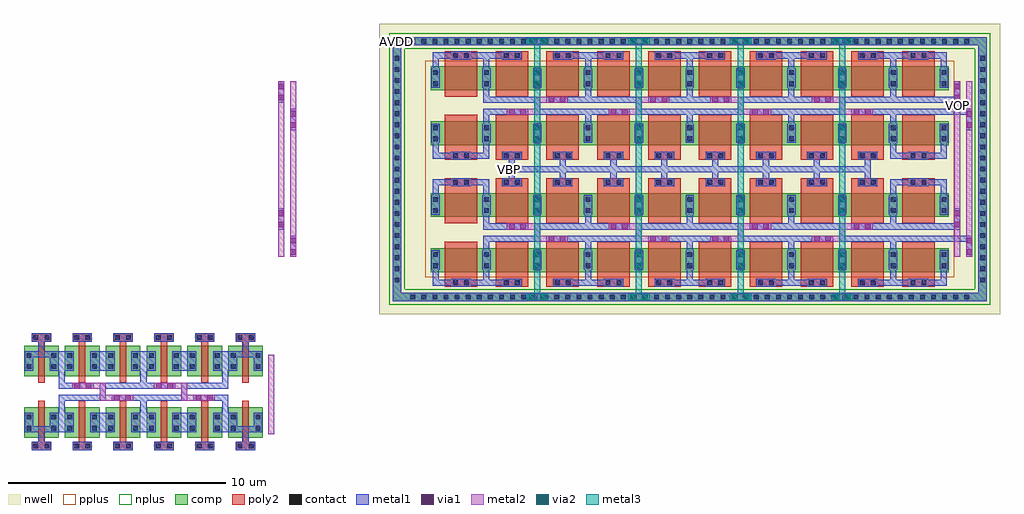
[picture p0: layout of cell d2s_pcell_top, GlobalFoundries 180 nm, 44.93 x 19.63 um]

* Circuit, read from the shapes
.subckt d2s_pcell_top AVDD VBP VON VOP
XM1 VON VON VON AVDD pfet_03v3 w=1.1u l=1.5u m=4
XM2 VOP VOP VOP AVDD pfet_03v3 w=1.1u l=1.5u m=4
XM3 AVDD VON VON AVDD pfet_03v3 w=1.1u l=1.5u m=8
XM4 AVDD VBP VOP AVDD pfet_03v3 w=1.1u l=1.5u m=8
XM5 AVDD VBP VON AVDD pfet_03v3 w=1.1u l=1.5u m=8
XM6 AVDD VOP VOP AVDD pfet_03v3 w=1.1u l=1.5u m=8
.ends

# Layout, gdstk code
from math import pi, radians
import gdstk
lib = gdstk.Library(unit=1e-6, precision=5e-09)
def R(c, l, rs):  # rectangles x0, y0, x1, y1
    for r in rs: c.add(gdstk.rectangle(r[:2], r[2:], *l))
def A(c, l, x, y, w, h, nx, ny, dx, dy):  # array of equal rectangles
    R(c, l, [(x+i*dx, y+j*dy, x+i*dx+w, y+j*dy+h) for i in range(nx) for j in range(ny)])
nwell = (21, 0)
comp = (22, 0)
poly2 = (30, 0)
pplus = (31, 0)
nplus = (32, 0)
contact = (33, 0)
metal1 = (34, 0)
via1 = (35, 0)
metal2 = (36, 0)
via2 = (38, 0)
metal3 = (42, 0)

d2s_pcell_1_1 = lib.new_cell('d2s_pcell_1$1')
R(d2s_pcell_1_1, comp, [(0,0.3,0.46,1.7), (0.46,0.3,1.14,1.7), (1.14,0.3,1.6,1.7)])
R(d2s_pcell_1_1, poly2, [(0.65,0,0.95,2)])
R(d2s_pcell_1_1, contact, [(0.12,0.635,0.34,0.855), (1.26,0.635,1.48,0.855), (0.12,1.145,0.34,1.365), (1.26,1.145,1.48,1.365)])
R(d2s_pcell_1_1, metal1, [(0.04,0.555,0.42,1.445), (1.18,0.555,1.56,1.445)])

d2s_pcell_4 = lib.new_cell('d2s_pcell_4')
A(d2s_pcell_4, poly2, 0.365, 1.9, 0.87, 0.36, 6, 1, 1.88, 0)
R(d2s_pcell_4, contact, [(0.435,1.97,0.655,2.19), (0.945,1.97,1.165,2.19), (2.315,1.97,2.535,2.19), (2.825,1.97,3.045,2.19), (4.195,1.97,4.415,2.19), (4.705,1.97,4.925,2.19), (6.075,1.97,6.295,2.19), (6.585,1.97,6.805,2.19), (7.955,1.97,8.175,2.19), (8.465,1.97,8.685,2.19), (9.835,1.97,10.055,2.19), (10.345,1.97,10.565,2.19)])
A(d2s_pcell_4, metal1, 1.56, 0.555, 0.36, 0.89, 5, 1, 1.88, 0)
A(d2s_pcell_4, metal1, 0.355, 1.89, 0.89, 0.38, 6, 1, 1.88, 0)
d2s_pcell_4.add(gdstk.FlexPath([(10.2,1.89),(10.2,1.445)], 0.28, ends="flush", simple_path=True, layer=34, datatype=0))  # metal1
d2s_pcell_4.add(gdstk.FlexPath([(9.82,1.305),(10.58,1.305)], 0.28, ends="flush", simple_path=True, layer=34, datatype=0))  # metal1
d2s_pcell_4.add(gdstk.FlexPath([(0.8,1.89),(0.8,1.445)], 0.28, ends="flush", simple_path=True, layer=34, datatype=0))  # metal1
d2s_pcell_4.add(gdstk.FlexPath([(1.18,1.305),(0.42,1.305)], 0.28, ends="flush", simple_path=True, layer=34, datatype=0))  # metal1
d2s_pcell_4.add(gdstk.Reference(d2s_pcell_1_1, (1.88,0)))
d2s_pcell_4.add(gdstk.Reference(d2s_pcell_1_1, (3.76,0)))
d2s_pcell_4.add(gdstk.Reference(d2s_pcell_1_1, (5.64,0)))
d2s_pcell_4.add(gdstk.Reference(d2s_pcell_1_1, (7.52,0)))
d2s_pcell_4.add(gdstk.Reference(d2s_pcell_1_1, (9.4,0)))
d2s_pcell_4.add(gdstk.Reference(d2s_pcell_1_1, (1.6,0), rotation=pi, x_reflection=True))

delay_stage_pcell_1_2_1_ = lib.new_cell('delay_stage_pcell_1$2$1$1')
R(delay_stage_pcell_1_2_1_, comp, [(0.17,0.3,0.63,1.4), (0.63,0.3,2.51,1.4), (2.51,0.3,2.97,1.4)])
R(delay_stage_pcell_1_2_1_, poly2, [(0.82,0,2.32,1.7)])
R(delay_stage_pcell_1_2_1_, contact, [(0.29,0.485,0.51,0.705), (2.63,0.485,2.85,0.705), (0.29,0.995,0.51,1.215), (2.63,0.995,2.85,1.215)])
R(delay_stage_pcell_1_2_1_, metal1, [(0.21,0.405,0.59,1.295), (2.55,0.405,2.93,1.295)])

delay_stage_pcell_4_2_1 = lib.new_cell('delay_stage_pcell_4$2$1')
delay_stage_pcell_4_2_1.add(gdstk.Reference(delay_stage_pcell_1_2_1_, (-0.17,0)))
delay_stage_pcell_4_2_1.add(gdstk.Reference(delay_stage_pcell_1_2_1_, (2.17,0)))
delay_stage_pcell_4_2_1.add(gdstk.Reference(delay_stage_pcell_1_2_1_, (4.51,0)))
delay_stage_pcell_4_2_1.add(gdstk.Reference(delay_stage_pcell_1_2_1_, (6.85,0)))

delay_stage_pcell_4_4_1 = lib.new_cell('delay_stage_pcell_4_4$1')
R(delay_stage_pcell_4_4_1, poly2, [(0.65,0,2.15,0.38), (0.65,0,2.15,0.38), (2.99,0,4.49,0.38), (2.99,0,4.49,0.38), (5.33,0,6.83,0.38), (5.33,0,6.83,0.38), (7.67,0,9.17,0.38), (7.67,0,9.17,0.38), (0.65,4.62,2.15,5), (0.65,4.62,2.15,5), (2.99,4.62,4.49,5), (2.99,4.62,4.49,5), (5.33,4.62,6.83,5), (5.33,4.62,6.83,5), (7.67,4.62,9.17,5), (7.67,4.62,9.17,5), (0.65,5.84,2.15,6.22), (0.65,5.84,2.15,6.22), (2.99,5.84,4.49,6.22), (2.99,5.84,4.49,6.22), (5.33,5.84,6.83,6.22), (5.33,5.84,6.83,6.22), (7.67,5.84,9.17,6.22), (7.67,5.84,9.17,6.22), (0.65,10.46,2.15,10.84), (0.65,10.46,2.15,10.84), (2.99,10.46,4.49,10.84), (2.99,10.46,4.49,10.84), (5.33,10.46,6.83,10.84), (5.33,10.46,6.83,10.84), (7.67,10.46,9.17,10.84), (7.67,10.46,9.17,10.84)])
R(delay_stage_pcell_4_4_1, contact, [(1.035,0.08,1.255,0.3), (1.035,0.08,1.255,0.3), (1.545,0.08,1.765,0.3), (1.545,0.08,1.765,0.3), (3.375,0.08,3.595,0.3), (3.375,0.08,3.595,0.3), (3.885,0.08,4.105,0.3), (3.885,0.08,4.105,0.3), (5.715,0.08,5.935,0.3), (5.715,0.08,5.935,0.3), (6.225,0.08,6.445,0.3), (6.225,0.08,6.445,0.3), (8.055,0.08,8.275,0.3), (8.055,0.08,8.275,0.3), (8.565,0.08,8.785,0.3), (8.565,0.08,8.785,0.3), (1.035,4.7,1.255,4.92), (1.035,4.7,1.255,4.92), (1.545,4.7,1.765,4.92), (1.545,4.7,1.765,4.92), (3.375,4.7,3.595,4.92), (3.375,4.7,3.595,4.92), (3.885,4.7,4.105,4.92), (3.885,4.7,4.105,4.92), (5.715,4.7,5.935,4.92), (5.715,4.7,5.935,4.92), (6.225,4.7,6.445,4.92), (6.225,4.7,6.445,4.92), (8.055,4.7,8.275,4.92), (8.055,4.7,8.275,4.92), (8.565,4.7,8.785,4.92), (8.565,4.7,8.785,4.92), (1.035,5.92,1.255,6.14), (1.035,5.92,1.255,6.14), (1.545,5.92,1.765,6.14), (1.545,5.92,1.765,6.14), (3.375,5.92,3.595,6.14), (3.375,5.92,3.595,6.14), (3.885,5.92,4.105,6.14), (3.885,5.92,4.105,6.14), (5.715,5.92,5.935,6.14), (5.715,5.92,5.935,6.14), (6.225,5.92,6.445,6.14), (6.225,5.92,6.445,6.14), (8.055,5.92,8.275,6.14), (8.055,5.92,8.275,6.14), (8.565,5.92,8.785,6.14), (8.565,5.92,8.785,6.14), (1.035,10.54,1.255,10.76), (1.035,10.54,1.255,10.76), (1.545,10.54,1.765,10.76), (1.545,10.54,1.765,10.76), (3.375,10.54,3.595,10.76), (3.375,10.54,3.595,10.76), (3.885,10.54,4.105,10.76), (3.885,10.54,4.105,10.76), (5.715,10.54,5.935,10.76), (5.715,10.54,5.935,10.76), (6.225,10.54,6.445,10.76), (6.225,10.54,6.445,10.76), (8.055,10.54,8.275,10.76), (8.055,10.54,8.275,10.76), (8.565,10.54,8.785,10.76), (8.565,10.54,8.785,10.76)])
R(delay_stage_pcell_4_4_1, metal1, [(0.955,0,1.845,0.38), (3.295,0,4.185,0.38), (3.295,0,4.185,0.38), (5.635,0,6.525,0.38), (5.635,0,6.525,0.38), (7.975,0,8.865,0.38), (0.955,4.62,1.845,5), (0.955,4.62,1.845,5), (3.295,4.62,4.185,5), (3.295,4.62,4.185,5), (5.635,4.62,6.525,5), (5.635,4.62,6.525,5), (7.975,4.62,8.865,5), (0.955,5.84,1.845,6.22), (0.955,5.84,1.845,6.22), (3.295,5.84,4.185,6.22), (3.295,5.84,4.185,6.22), (5.635,5.84,6.525,6.22), (5.635,5.84,6.525,6.22), (7.975,5.84,8.865,6.22), (7.975,5.84,8.865,6.22), (0.955,10.46,1.845,10.84), (3.295,10.46,4.185,10.84), (3.295,10.46,4.185,10.84), (5.635,10.46,6.525,10.84), (5.635,10.46,6.525,10.84), (7.975,10.46,8.865,10.84)])
R(delay_stage_pcell_4_4_1, via1, [(2.44,0.84,2.7,1.1), (7.12,0.84,7.38,1.1), (2.44,1.36,2.7,1.62), (7.12,1.36,7.38,1.62), (1.27,2.09,1.53,2.35), (1.27,2.09,1.53,2.35), (1.79,2.09,2.05,2.35), (1.79,2.09,2.05,2.35), (5.95,2.09,6.21,2.35), (5.95,2.09,6.21,2.35), (6.47,2.09,6.73,2.35), (6.47,2.09,6.73,2.35), (3.09,2.65,3.35,2.91), (3.09,2.65,3.35,2.91), (3.61,2.65,3.87,2.91), (3.61,2.65,3.87,2.91), (7.77,2.65,8.03,2.91), (7.77,2.65,8.03,2.91), (8.29,2.65,8.55,2.91), (8.29,2.65,8.55,2.91), (2.44,3.38,2.7,3.64), (7.12,3.38,7.38,3.64), (2.44,3.9,2.7,4.16), (7.12,3.9,7.38,4.16), (2.44,6.68,2.7,6.94), (7.12,6.68,7.38,6.94), (2.44,7.2,2.7,7.46), (7.12,7.2,7.38,7.46), (3.09,7.93,3.35,8.19), (3.09,7.93,3.35,8.19), (3.61,7.93,3.87,8.19), (3.61,7.93,3.87,8.19), (7.77,7.93,8.03,8.19), (7.77,7.93,8.03,8.19), (8.29,7.93,8.55,8.19), (8.29,7.93,8.55,8.19), (1.27,8.49,1.53,8.75), (1.27,8.49,1.53,8.75), (1.79,8.49,2.05,8.75), (1.79,8.49,2.05,8.75), (5.95,8.49,6.21,8.75), (5.95,8.49,6.21,8.75), (6.47,8.49,6.73,8.75), (6.47,8.49,6.73,8.75), (2.44,9.22,2.7,9.48), (7.12,9.22,7.38,9.48), (2.44,9.74,2.7,10), (7.12,9.74,7.38,10)])
R(delay_stage_pcell_4_4_1, via2, [(2.44,0.84,2.7,1.1), (7.12,0.84,7.38,1.1), (2.44,1.36,2.7,1.62), (7.12,1.36,7.38,1.62), (2.44,3.38,2.7,3.64), (7.12,3.38,7.38,3.64), (2.44,3.9,2.7,4.16), (7.12,3.9,7.38,4.16), (2.44,6.68,2.7,6.94), (7.12,6.68,7.38,6.94), (2.44,7.2,2.7,7.46), (7.12,7.2,7.38,7.46), (2.44,9.22,2.7,9.48), (7.12,9.22,7.38,9.48), (2.44,9.74,2.7,10), (7.12,9.74,7.38,10)])
delay_stage_pcell_4_4_1.add(gdstk.FlexPath([(8.56,5.42),(0.23,5.42)], 0.28, ends="flush", simple_path=True, layer=34, datatype=0))  # metal1
delay_stage_pcell_4_4_1.add(gdstk.FlexPath([(4.185,10.65),(5.635,10.65)], 0.28, ends="flush", simple_path=True, layer=34, datatype=0))  # metal1
delay_stage_pcell_4_4_1.add(gdstk.FlexPath([(4.91,10.055),(4.91,10.51)], 0.28, ends="flush", simple_path=True, layer=34, datatype=0))  # metal1
delay_stage_pcell_4_4_1.add(gdstk.FlexPath([(0.955,10.65),(0.23,10.65),(0.23,10.055)], 0.28, ends="flush", simple_path=True, layer=34, datatype=0))  # metal1
delay_stage_pcell_4_4_1.add(gdstk.FlexPath([(8.865,10.65),(9.59,10.65),(9.59,10.055)], 0.28, ends="flush", simple_path=True, layer=34, datatype=0))  # metal1
delay_stage_pcell_4_4_1.add(gdstk.FlexPath([(4.185,0.19),(5.635,0.19)], 0.28, ends="flush", simple_path=True, layer=34, datatype=0))  # metal1
delay_stage_pcell_4_4_1.add(gdstk.FlexPath([(4.91,0.785),(4.91,0.33)], 0.28, ends="flush", simple_path=True, layer=34, datatype=0))  # metal1
delay_stage_pcell_4_4_1.add(gdstk.FlexPath([(0.955,0.19),(0.23,0.19),(0.23,0.785)], 0.28, ends="flush", simple_path=True, layer=34, datatype=0))  # metal1
delay_stage_pcell_4_4_1.add(gdstk.FlexPath([(8.865,0.19),(9.59,0.19),(9.59,0.785)], 0.28, ends="flush", simple_path=True, layer=34, datatype=0))  # metal1
delay_stage_pcell_4_4_1.add(gdstk.FlexPath([(9.59,1.675),(9.59,2.22),(8.65,2.22)], 0.28, ends="flush", simple_path=True, layer=34, datatype=0))  # metal1
delay_stage_pcell_4_4_1.add(gdstk.FlexPath([(9.59,1.675),(9.59,2.22),(8.65,2.22)], 0.28, ends="flush", simple_path=True, layer=34, datatype=0))  # metal1
delay_stage_pcell_4_4_1.add(gdstk.FlexPath([(4.91,1.675),(4.91,2.08)], 0.28, ends="flush", simple_path=True, layer=34, datatype=0))  # metal1
delay_stage_pcell_4_4_1.add(gdstk.FlexPath([(4.91,1.675),(4.91,2.08)], 0.28, ends="flush", simple_path=True, layer=34, datatype=0))  # metal1
delay_stage_pcell_4_4_1.add(gdstk.FlexPath([(0.23,1.675),(0.23,2.22),(1.17,2.22)], 0.28, ends="flush", simple_path=True, layer=34, datatype=0))  # metal1
delay_stage_pcell_4_4_1.add(gdstk.FlexPath([(0.23,1.675),(0.23,2.22),(1.17,2.22)], 0.28, ends="flush", simple_path=True, layer=34, datatype=0))  # metal1
delay_stage_pcell_4_4_1.add(gdstk.FlexPath([(8.65,2.22),(7.25,2.22),(7.25,2.78),(5.85,2.78)], 0.28, ends="flush", simple_path=True, layer=34, datatype=0))  # metal1
delay_stage_pcell_4_4_1.add(gdstk.FlexPath([(8.65,2.22),(7.25,2.22),(7.25,2.78),(5.85,2.78)], 0.28, ends="flush", simple_path=True, layer=34, datatype=0))  # metal1
delay_stage_pcell_4_4_1.add(gdstk.FlexPath([(6.83,2.22),(5.85,2.22)], 0.28, ends="flush", simple_path=True, layer=34, datatype=0))  # metal1
delay_stage_pcell_4_4_1.add(gdstk.FlexPath([(6.83,2.22),(5.85,2.22)], 0.28, ends="flush", simple_path=True, layer=34, datatype=0))  # metal1
delay_stage_pcell_4_4_1.add(gdstk.FlexPath([(3.97,2.22),(5.85,2.22)], 0.28, ends="flush", simple_path=True, layer=34, datatype=0))  # metal1
delay_stage_pcell_4_4_1.add(gdstk.FlexPath([(3.97,2.22),(5.85,2.22)], 0.28, ends="flush", simple_path=True, layer=34, datatype=0))  # metal1
delay_stage_pcell_4_4_1.add(gdstk.FlexPath([(3.97,2.22),(2.57,2.22),(2.57,2.78),(1.17,2.78)], 0.28, ends="flush", simple_path=True, layer=34, datatype=0))  # metal1
delay_stage_pcell_4_4_1.add(gdstk.FlexPath([(3.97,2.22),(2.57,2.22),(2.57,2.78),(1.17,2.78)], 0.28, ends="flush", simple_path=True, layer=34, datatype=0))  # metal1
delay_stage_pcell_4_4_1.add(gdstk.FlexPath([(2.15,2.22),(1.17,2.22)], 0.28, ends="flush", simple_path=True, layer=34, datatype=0))  # metal1
delay_stage_pcell_4_4_1.add(gdstk.FlexPath([(2.15,2.22),(1.17,2.22)], 0.28, ends="flush", simple_path=True, layer=34, datatype=0))  # metal1
delay_stage_pcell_4_4_1.add(gdstk.FlexPath([(8.65,2.78),(7.67,2.78)], 0.28, ends="flush", simple_path=True, layer=34, datatype=0))  # metal1
delay_stage_pcell_4_4_1.add(gdstk.FlexPath([(8.65,2.78),(7.67,2.78)], 0.28, ends="flush", simple_path=True, layer=34, datatype=0))  # metal1
delay_stage_pcell_4_4_1.add(gdstk.FlexPath([(3.97,2.78),(5.85,2.78)], 0.28, ends="flush", simple_path=True, layer=34, datatype=0))  # metal1
delay_stage_pcell_4_4_1.add(gdstk.FlexPath([(3.97,2.78),(5.85,2.78)], 0.28, ends="flush", simple_path=True, layer=34, datatype=0))  # metal1
delay_stage_pcell_4_4_1.add(gdstk.FlexPath([(3.97,2.78),(2.99,2.78)], 0.28, ends="flush", simple_path=True, layer=34, datatype=0))  # metal1
delay_stage_pcell_4_4_1.add(gdstk.FlexPath([(3.97,2.78),(2.99,2.78)], 0.28, ends="flush", simple_path=True, layer=34, datatype=0))  # metal1
delay_stage_pcell_4_4_1.add(gdstk.FlexPath([(1.17,2.78),(0.23,2.78),(0.23,3.325)], 0.28, ends="flush", simple_path=True, layer=34, datatype=0))  # metal1
delay_stage_pcell_4_4_1.add(gdstk.FlexPath([(1.17,2.78),(0.23,2.78),(0.23,3.325)], 0.28, ends="flush", simple_path=True, layer=34, datatype=0))  # metal1
delay_stage_pcell_4_4_1.add(gdstk.FlexPath([(9.59,3.325),(9.59,2.78),(8.65,2.78)], 0.28, ends="flush", simple_path=True, layer=34, datatype=0))  # metal1
delay_stage_pcell_4_4_1.add(gdstk.FlexPath([(9.59,3.325),(9.59,2.78),(8.65,2.78)], 0.28, ends="flush", simple_path=True, layer=34, datatype=0))  # metal1
delay_stage_pcell_4_4_1.add(gdstk.FlexPath([(4.91,3.325),(4.91,2.92)], 0.28, ends="flush", simple_path=True, layer=34, datatype=0))  # metal1
delay_stage_pcell_4_4_1.add(gdstk.FlexPath([(4.91,3.325),(4.91,2.92)], 0.28, ends="flush", simple_path=True, layer=34, datatype=0))  # metal1
delay_stage_pcell_4_4_1.add(gdstk.FlexPath([(9.59,7.515),(9.59,8.06),(8.65,8.06)], 0.28, ends="flush", simple_path=True, layer=34, datatype=0))  # metal1
delay_stage_pcell_4_4_1.add(gdstk.FlexPath([(9.59,9.165),(9.59,8.62),(8.65,8.62)], 0.28, ends="flush", simple_path=True, layer=34, datatype=0))  # metal1
delay_stage_pcell_4_4_1.add(gdstk.FlexPath([(4.91,9.165),(4.91,8.76)], 0.28, ends="flush", simple_path=True, layer=34, datatype=0))  # metal1
delay_stage_pcell_4_4_1.add(gdstk.FlexPath([(4.91,7.515),(4.91,7.92)], 0.28, ends="flush", simple_path=True, layer=34, datatype=0))  # metal1
delay_stage_pcell_4_4_1.add(gdstk.FlexPath([(1.17,8.06),(0.23,8.06),(0.23,7.515)], 0.28, ends="flush", simple_path=True, layer=34, datatype=0))  # metal1
delay_stage_pcell_4_4_1.add(gdstk.FlexPath([(0.23,9.165),(0.23,8.62),(1.17,8.62)], 0.28, ends="flush", simple_path=True, layer=34, datatype=0))  # metal1
delay_stage_pcell_4_4_1.add(gdstk.FlexPath([(8.65,8.62),(7.25,8.62),(7.25,8.06),(5.85,8.06)], 0.28, ends="flush", simple_path=True, layer=34, datatype=0))  # metal1
delay_stage_pcell_4_4_1.add(gdstk.FlexPath([(3.97,8.62),(2.57,8.62),(2.57,8.06),(1.17,8.06)], 0.28, ends="flush", simple_path=True, layer=34, datatype=0))  # metal1
delay_stage_pcell_4_4_1.add(gdstk.FlexPath([(2.15,8.62),(1.17,8.62)], 0.28, ends="flush", simple_path=True, layer=34, datatype=0))  # metal1
delay_stage_pcell_4_4_1.add(gdstk.FlexPath([(3.97,8.06),(2.99,8.06)], 0.28, ends="flush", simple_path=True, layer=34, datatype=0))  # metal1
delay_stage_pcell_4_4_1.add(gdstk.FlexPath([(8.65,8.06),(7.67,8.06)], 0.28, ends="flush", simple_path=True, layer=34, datatype=0))  # metal1
delay_stage_pcell_4_4_1.add(gdstk.FlexPath([(6.83,8.62),(5.85,8.62)], 0.28, ends="flush", simple_path=True, layer=34, datatype=0))  # metal1
delay_stage_pcell_4_4_1.add(gdstk.FlexPath([(3.97,8.62),(5.85,8.62)], 0.28, ends="flush", simple_path=True, layer=34, datatype=0))  # metal1
delay_stage_pcell_4_4_1.add(gdstk.FlexPath([(3.97,8.06),(5.85,8.06)], 0.28, ends="flush", simple_path=True, layer=34, datatype=0))  # metal1
delay_stage_pcell_4_4_1.add(gdstk.FlexPath([(3.97,8.06),(5.85,8.06)], 0.28, ends="flush", simple_path=True, layer=34, datatype=0))  # metal1
delay_stage_pcell_4_4_1.add(gdstk.FlexPath([(3.97,8.62),(5.85,8.62)], 0.28, ends="flush", simple_path=True, layer=34, datatype=0))  # metal1
delay_stage_pcell_4_4_1.add(gdstk.FlexPath([(6.83,8.62),(5.85,8.62)], 0.28, ends="flush", simple_path=True, layer=34, datatype=0))  # metal1
delay_stage_pcell_4_4_1.add(gdstk.FlexPath([(8.65,8.06),(7.67,8.06)], 0.28, ends="flush", simple_path=True, layer=34, datatype=0))  # metal1
delay_stage_pcell_4_4_1.add(gdstk.FlexPath([(3.97,8.06),(2.99,8.06)], 0.28, ends="flush", simple_path=True, layer=34, datatype=0))  # metal1
delay_stage_pcell_4_4_1.add(gdstk.FlexPath([(2.15,8.62),(1.17,8.62)], 0.28, ends="flush", simple_path=True, layer=34, datatype=0))  # metal1
delay_stage_pcell_4_4_1.add(gdstk.FlexPath([(3.97,8.62),(2.57,8.62),(2.57,8.06),(1.17,8.06)], 0.28, ends="flush", simple_path=True, layer=34, datatype=0))  # metal1
delay_stage_pcell_4_4_1.add(gdstk.FlexPath([(8.65,8.62),(7.25,8.62),(7.25,8.06),(5.85,8.06)], 0.28, ends="flush", simple_path=True, layer=34, datatype=0))  # metal1
delay_stage_pcell_4_4_1.add(gdstk.FlexPath([(0.23,9.165),(0.23,8.62),(1.17,8.62)], 0.28, ends="flush", simple_path=True, layer=34, datatype=0))  # metal1
delay_stage_pcell_4_4_1.add(gdstk.FlexPath([(1.17,8.06),(0.23,8.06),(0.23,7.515)], 0.28, ends="flush", simple_path=True, layer=34, datatype=0))  # metal1
delay_stage_pcell_4_4_1.add(gdstk.FlexPath([(4.91,7.515),(4.91,7.92)], 0.28, ends="flush", simple_path=True, layer=34, datatype=0))  # metal1
delay_stage_pcell_4_4_1.add(gdstk.FlexPath([(4.91,9.165),(4.91,8.76)], 0.28, ends="flush", simple_path=True, layer=34, datatype=0))  # metal1
delay_stage_pcell_4_4_1.add(gdstk.FlexPath([(9.59,9.165),(9.59,8.62),(8.65,8.62)], 0.28, ends="flush", simple_path=True, layer=34, datatype=0))  # metal1
delay_stage_pcell_4_4_1.add(gdstk.FlexPath([(9.59,7.515),(9.59,8.06),(8.65,8.06)], 0.28, ends="flush", simple_path=True, layer=34, datatype=0))  # metal1
delay_stage_pcell_4_4_1.add(gdstk.FlexPath([(8.42,5),(8.42,5.28)], 0.28, ends="flush", simple_path=True, layer=34, datatype=0))  # metal1
delay_stage_pcell_4_4_1.add(gdstk.FlexPath([(8.42,5.84),(8.42,5.56)], 0.28, ends="flush", simple_path=True, layer=34, datatype=0))  # metal1
delay_stage_pcell_4_4_1.add(gdstk.FlexPath([(6.08,5),(6.08,5.28)], 0.28, ends="flush", simple_path=True, layer=34, datatype=0))  # metal1
delay_stage_pcell_4_4_1.add(gdstk.FlexPath([(6.08,5.84),(6.08,5.56)], 0.28, ends="flush", simple_path=True, layer=34, datatype=0))  # metal1
delay_stage_pcell_4_4_1.add(gdstk.FlexPath([(3.74,5),(3.74,5.28)], 0.28, ends="flush", simple_path=True, layer=34, datatype=0))  # metal1
delay_stage_pcell_4_4_1.add(gdstk.FlexPath([(3.74,5.84),(3.74,5.56)], 0.28, ends="flush", simple_path=True, layer=34, datatype=0))  # metal1
delay_stage_pcell_4_4_1.add(gdstk.FlexPath([(1.4,5),(1.4,5.28)], 0.28, ends="flush", simple_path=True, layer=34, datatype=0))  # metal1
delay_stage_pcell_4_4_1.add(gdstk.FlexPath([(1.4,5.84),(1.4,5.56)], 0.28, ends="flush", simple_path=True, layer=34, datatype=0))  # metal1
delay_stage_pcell_4_4_1.add(gdstk.FlexPath([(8.65,2.78),(7.25,2.78),(7.25,2.22),(5.85,2.22)], 0.28, ends="flush", simple_path=True, layer=36, datatype=0))  # metal2
delay_stage_pcell_4_4_1.add(gdstk.FlexPath([(8.65,2.78),(7.25,2.78),(7.25,2.22),(5.85,2.22)], 0.28, ends="flush", simple_path=True, layer=36, datatype=0))  # metal2
delay_stage_pcell_4_4_1.add(gdstk.FlexPath([(3.97,2.78),(2.57,2.78),(2.57,2.22),(1.17,2.22)], 0.28, ends="flush", simple_path=True, layer=36, datatype=0))  # metal2
delay_stage_pcell_4_4_1.add(gdstk.FlexPath([(3.97,2.78),(2.57,2.78),(2.57,2.22),(1.17,2.22)], 0.28, ends="flush", simple_path=True, layer=36, datatype=0))  # metal2
delay_stage_pcell_4_4_1.add(gdstk.FlexPath([(3.97,8.06),(2.57,8.06),(2.57,8.62),(1.17,8.62)], 0.28, ends="flush", simple_path=True, layer=36, datatype=0))  # metal2
delay_stage_pcell_4_4_1.add(gdstk.FlexPath([(8.65,8.06),(7.25,8.06),(7.25,8.62),(5.85,8.62)], 0.28, ends="flush", simple_path=True, layer=36, datatype=0))  # metal2
delay_stage_pcell_4_4_1.add(gdstk.FlexPath([(8.65,8.06),(7.25,8.06),(7.25,8.62),(5.85,8.62)], 0.28, ends="flush", simple_path=True, layer=36, datatype=0))  # metal2
delay_stage_pcell_4_4_1.add(gdstk.FlexPath([(3.97,8.06),(2.57,8.06),(2.57,8.62),(1.17,8.62)], 0.28, ends="flush", simple_path=True, layer=36, datatype=0))  # metal2
delay_stage_pcell_4_4_1.add(gdstk.FlexPath([(7.25,6.58),(7.25,7.56)], 0.28, ends="flush", simple_path=True, layer=36, datatype=0))  # metal2
delay_stage_pcell_4_4_1.add(gdstk.FlexPath([(7.25,9.12),(7.25,10.1)], 0.28, ends="flush", simple_path=True, layer=36, datatype=0))  # metal2
delay_stage_pcell_4_4_1.add(gdstk.FlexPath([(2.57,6.58),(2.57,7.56)], 0.28, ends="flush", simple_path=True, layer=36, datatype=0))  # metal2
delay_stage_pcell_4_4_1.add(gdstk.FlexPath([(7.25,3.28),(7.25,4.26)], 0.28, ends="flush", simple_path=True, layer=36, datatype=0))  # metal2
delay_stage_pcell_4_4_1.add(gdstk.FlexPath([(2.57,3.28),(2.57,4.26)], 0.28, ends="flush", simple_path=True, layer=36, datatype=0))  # metal2
delay_stage_pcell_4_4_1.add(gdstk.FlexPath([(7.25,0.74),(7.25,1.72)], 0.28, ends="flush", simple_path=True, layer=36, datatype=0))  # metal2
delay_stage_pcell_4_4_1.add(gdstk.FlexPath([(2.57,0.74),(2.57,1.72)], 0.28, ends="flush", simple_path=True, layer=36, datatype=0))  # metal2
delay_stage_pcell_4_4_1.add(gdstk.FlexPath([(2.57,9.12),(2.57,10.1)], 0.28, ends="flush", simple_path=True, layer=36, datatype=0))  # metal2
delay_stage_pcell_4_4_1.add(gdstk.FlexPath([(7.25,6.58),(7.25,7.56)], 0.28, ends="flush", simple_path=True, layer=42, datatype=0))  # metal3
delay_stage_pcell_4_4_1.add(gdstk.FlexPath([(7.25,9.12),(7.25,10.1)], 0.28, ends="flush", simple_path=True, layer=42, datatype=0))  # metal3
delay_stage_pcell_4_4_1.add(gdstk.FlexPath([(2.57,6.58),(2.57,7.56)], 0.28, ends="flush", simple_path=True, layer=42, datatype=0))  # metal3
delay_stage_pcell_4_4_1.add(gdstk.FlexPath([(7.25,3.28),(7.25,4.26)], 0.28, ends="flush", simple_path=True, layer=42, datatype=0))  # metal3
delay_stage_pcell_4_4_1.add(gdstk.FlexPath([(2.57,3.28),(2.57,4.26)], 0.28, ends="flush", simple_path=True, layer=42, datatype=0))  # metal3
delay_stage_pcell_4_4_1.add(gdstk.FlexPath([(7.25,0.74),(7.25,1.72)], 0.28, ends="flush", simple_path=True, layer=42, datatype=0))  # metal3
delay_stage_pcell_4_4_1.add(gdstk.FlexPath([(2.57,0.74),(2.57,1.72)], 0.28, ends="flush", simple_path=True, layer=42, datatype=0))  # metal3
delay_stage_pcell_4_4_1.add(gdstk.FlexPath([(2.57,9.12),(2.57,10.1)], 0.28, ends="flush", simple_path=True, layer=42, datatype=0))  # metal3
delay_stage_pcell_4_4_1.add(gdstk.Reference(delay_stage_pcell_4_2_1, (9.82,7.92), rotation=pi))
delay_stage_pcell_4_4_1.add(gdstk.Reference(delay_stage_pcell_4_2_1, (9.82,2.08), rotation=pi))
delay_stage_pcell_4_4_1.add(gdstk.Reference(delay_stage_pcell_4_2_1, (9.82,8.76), rotation=pi, x_reflection=True))
delay_stage_pcell_4_4_1.add(gdstk.Reference(delay_stage_pcell_4_2_1, (9.82,2.92), rotation=pi, x_reflection=True))

delay_stage_pcell_1_1_1 = lib.new_cell('delay_stage_pcell_1$1$1')
R(delay_stage_pcell_1_1_1, comp, [(0.17,0.3,0.63,1.4), (0.63,0.3,2.51,1.4), (2.51,0.3,2.97,1.4)])
R(delay_stage_pcell_1_1_1, poly2, [(0.82,0,2.32,1.7)])
R(delay_stage_pcell_1_1_1, contact, [(0.29,0.485,0.51,0.705), (2.63,0.485,2.85,0.705), (0.29,0.995,0.51,1.215), (2.63,0.995,2.85,1.215)])
R(delay_stage_pcell_1_1_1, metal1, [(0.21,0.405,0.59,1.295), (2.55,0.405,2.93,1.295)])

delay_stage_pcell_1_4_1 = lib.new_cell('delay_stage_pcell_1_4$1')
R(delay_stage_pcell_1_4_1, poly2, [(0.65,0,2.15,0.38), (0.65,4.62,2.15,5), (0.65,5.84,2.15,6.22), (0.65,10.46,2.15,10.84)])
R(delay_stage_pcell_1_4_1, contact, [(1.035,0.08,1.255,0.3), (1.545,0.08,1.765,0.3), (1.035,4.7,1.255,4.92), (1.545,4.7,1.765,4.92), (1.035,5.92,1.255,6.14), (1.545,5.92,1.765,6.14), (1.035,10.54,1.255,10.76), (1.545,10.54,1.765,10.76)])
R(delay_stage_pcell_1_4_1, metal1, [(0.955,0,1.845,0.38), (0.955,4.62,1.845,5), (0.955,5.84,1.845,6.22), (0.955,10.46,1.845,10.84)])
delay_stage_pcell_1_4_1.add(gdstk.FlexPath([(2.57,10.055),(2.57,10.65),(0.23,10.65),(0.23,10.055)], 0.28, ends="flush", simple_path=True, layer=34, datatype=0))  # metal1
delay_stage_pcell_1_4_1.add(gdstk.FlexPath([(2.57,0.785),(2.57,0.19),(0.23,0.19),(0.23,0.785)], 0.28, ends="flush", simple_path=True, layer=34, datatype=0))  # metal1
delay_stage_pcell_1_4_1.add(gdstk.FlexPath([(2.57,6.625),(2.57,6.03),(0.23,6.03),(0.23,6.625)], 0.28, ends="flush", simple_path=True, layer=34, datatype=0))  # metal1
delay_stage_pcell_1_4_1.add(gdstk.FlexPath([(2.57,4.215),(2.57,4.81),(0.23,4.81),(0.23,4.215)], 0.28, ends="flush", simple_path=True, layer=34, datatype=0))  # metal1
delay_stage_pcell_1_4_1.add(gdstk.Reference(delay_stage_pcell_1_1_1, (-0.17,6.22)))
delay_stage_pcell_1_4_1.add(gdstk.Reference(delay_stage_pcell_1_1_1, (-0.17,0.38)))
delay_stage_pcell_1_4_1.add(gdstk.Reference(delay_stage_pcell_1_1_1, (-0.17,2.92)))
delay_stage_pcell_1_4_1.add(gdstk.Reference(delay_stage_pcell_1_1_1, (-0.17,8.76)))

d2s_pcell_top = lib.new_cell('d2s_pcell_top')
R(d2s_pcell_top, nwell, [(16.885,8.585,45.45,21.965)])
R(d2s_pcell_top, pplus, [(19,10.295,43.34,20.26)])
A(d2s_pcell_top, contact, 18.31, 9.275, 0.22, 0.22, 51, 2, 0.51, 11.78)
A(d2s_pcell_top, contact, 17.58, 10.065, 0.22, 0.22, 1, 21, 0, 0.51)
A(d2s_pcell_top, contact, 44.54, 10.065, 0.22, 0.22, 1, 21, 0, 0.51)
R(d2s_pcell_top, via1, [(4.665,4.615,4.925,4.875), (5.185,4.615,5.445,4.875), (8.425,4.615,8.685,4.875), (8.945,4.615,9.205,4.875), (2.845,5.175,3.105,5.435), (3.365,5.175,3.625,5.435), (6.605,5.175,6.865,5.435), (7.125,5.175,7.385,5.435), (23.76,9.255,24.02,9.515), (24.28,9.255,24.54,9.515), (28.44,9.255,28.7,9.515), (28.96,9.255,29.22,9.515), (33.12,9.255,33.38,9.515), (33.64,9.255,33.9,9.515), (37.8,9.255,38.06,9.515), (38.32,9.255,38.58,9.515), (12.79,11.335,13.05,11.595), (12.79,11.335,13.05,11.595), (43.91,11.335,44.17,11.595), (43.91,11.335,44.17,11.595), (12.79,11.855,13.05,12.115), (12.79,11.855,13.05,12.115), (43.91,11.855,44.17,12.115), (43.91,11.855,44.17,12.115), (12.23,12.595,12.49,12.855), (12.23,12.595,12.49,12.855), (43.35,12.595,43.61,12.855), (43.35,12.595,43.61,12.855), (12.23,13.115,12.49,13.375), (12.23,13.115,12.49,13.375), (43.35,13.115,43.61,13.375), (43.35,13.115,43.61,13.375), (12.79,17.175,13.05,17.435), (12.79,17.175,13.05,17.435), (43.91,17.175,44.17,17.435), (43.91,17.175,44.17,17.435), (12.79,17.695,13.05,17.955), (12.79,17.695,13.05,17.955), (43.91,17.695,44.17,17.955), (43.91,17.695,44.17,17.955), (12.23,18.435,12.49,18.695), (12.23,18.435,12.49,18.695), (43.35,18.435,43.61,18.695), (43.35,18.435,43.61,18.695), (12.23,18.955,12.49,19.215), (12.23,18.955,12.49,19.215), (43.35,18.955,43.61,19.215), (43.35,18.955,43.61,19.215), (23.76,21.035,24.02,21.295), (24.28,21.035,24.54,21.295), (28.44,21.035,28.7,21.295), (28.96,21.035,29.22,21.295), (33.12,21.035,33.38,21.295), (33.64,21.035,33.9,21.295), (37.8,21.035,38.06,21.295), (38.32,21.035,38.58,21.295)])
R(d2s_pcell_top, via2, [(23.76,9.255,24.02,9.515), (24.28,9.255,24.54,9.515), (28.44,9.255,28.7,9.515), (28.96,9.255,29.22,9.515), (33.12,9.255,33.38,9.515), (33.64,9.255,33.9,9.515), (37.8,9.255,38.06,9.515), (38.32,9.255,38.58,9.515), (23.76,21.035,24.02,21.295), (24.28,21.035,24.54,21.295), (28.44,21.035,28.7,21.295), (28.96,21.035,29.22,21.295), (33.12,21.035,33.38,21.295), (33.64,21.035,33.9,21.295), (37.8,21.035,38.06,21.295), (38.32,21.035,38.58,21.295)])
d2s_pcell_top.add(gdstk.FlexPath([(44.65,21.355),(44.65,9.385),(17.69,9.385),(17.69,21.165),(44.46,21.165)], 0.38, ends="flush", simple_path=True, layer=34, datatype=0))  # metal1
d2s_pcell_top.add(gdstk.FlexPath([(40.67,12.635),(43.62,12.635)], 0.28, ends="flush", simple_path=True, layer=34, datatype=0))  # metal1
d2s_pcell_top.add(gdstk.FlexPath([(40.67,12.075),(44.18,12.075)], 0.28, ends="flush", simple_path=True, layer=34, datatype=0))  # metal1
d2s_pcell_top.add(gdstk.FlexPath([(44.04,11.235),(44.04,12.215)], 0.28, ends="flush", simple_path=True, layer=34, datatype=0))  # metal1
d2s_pcell_top.add(gdstk.FlexPath([(44.04,11.235),(44.04,12.215)], 0.28, ends="flush", simple_path=True, layer=34, datatype=0))  # metal1
d2s_pcell_top.add(gdstk.FlexPath([(43.48,12.495),(43.48,13.475)], 0.28, ends="flush", simple_path=True, layer=34, datatype=0))  # metal1
d2s_pcell_top.add(gdstk.FlexPath([(43.48,12.495),(43.48,13.475)], 0.28, ends="flush", simple_path=True, layer=34, datatype=0))  # metal1
d2s_pcell_top.add(gdstk.FlexPath([(40.67,18.475),(43.62,18.475)], 0.28, ends="flush", simple_path=True, layer=34, datatype=0))  # metal1
d2s_pcell_top.add(gdstk.FlexPath([(40.67,17.915),(44.18,17.915)], 0.28, ends="flush", simple_path=True, layer=34, datatype=0))  # metal1
d2s_pcell_top.add(gdstk.FlexPath([(43.48,19.315),(43.48,18.335)], 0.28, ends="flush", simple_path=True, layer=34, datatype=0))  # metal1
d2s_pcell_top.add(gdstk.FlexPath([(43.48,19.315),(43.48,18.335)], 0.28, ends="flush", simple_path=True, layer=34, datatype=0))  # metal1
d2s_pcell_top.add(gdstk.FlexPath([(44.04,18.055),(44.04,17.075)], 0.28, ends="flush", simple_path=True, layer=34, datatype=0))  # metal1
d2s_pcell_top.add(gdstk.FlexPath([(44.04,18.055),(44.04,17.075)], 0.28, ends="flush", simple_path=True, layer=34, datatype=0))  # metal1
d2s_pcell_top.add(gdstk.FlexPath([(12.92,11.235),(12.92,12.215)], 0.28, ends="flush", simple_path=True, layer=34, datatype=0))  # metal1
d2s_pcell_top.add(gdstk.FlexPath([(12.92,11.235),(12.92,12.215)], 0.28, ends="flush", simple_path=True, layer=34, datatype=0))  # metal1
d2s_pcell_top.add(gdstk.FlexPath([(12.36,12.495),(12.36,13.475)], 0.28, ends="flush", simple_path=True, layer=34, datatype=0))  # metal1
d2s_pcell_top.add(gdstk.FlexPath([(12.36,12.495),(12.36,13.475)], 0.28, ends="flush", simple_path=True, layer=34, datatype=0))  # metal1
d2s_pcell_top.add(gdstk.FlexPath([(12.36,19.315),(12.36,18.335)], 0.28, ends="flush", simple_path=True, layer=34, datatype=0))  # metal1
d2s_pcell_top.add(gdstk.FlexPath([(12.36,19.315),(12.36,18.335)], 0.28, ends="flush", simple_path=True, layer=34, datatype=0))  # metal1
d2s_pcell_top.add(gdstk.FlexPath([(12.92,18.055),(12.92,17.075)], 0.28, ends="flush", simple_path=True, layer=34, datatype=0))  # metal1
d2s_pcell_top.add(gdstk.FlexPath([(12.92,18.055),(12.92,17.075)], 0.28, ends="flush", simple_path=True, layer=34, datatype=0))  # metal1
d2s_pcell_top.add(gdstk.FlexPath([(9.785,6),(9.785,5.445)], 0.28, ends="flush", simple_path=True, layer=34, datatype=0))  # metal1
d2s_pcell_top.add(gdstk.FlexPath([(6.025,6),(6.025,5.445)], 0.28, ends="flush", simple_path=True, layer=34, datatype=0))  # metal1
d2s_pcell_top.add(gdstk.FlexPath([(2.265,6),(2.265,5.445)], 0.28, ends="flush", simple_path=True, layer=34, datatype=0))  # metal1
d2s_pcell_top.add(gdstk.FlexPath([(5.545,5.305),(4.145,5.305),(4.145,4.745),(2.745,4.745)], 0.28, ends="flush", simple_path=True, layer=34, datatype=0))  # metal1
d2s_pcell_top.add(gdstk.FlexPath([(3.725,5.305),(2.745,5.305)], 0.28, ends="flush", simple_path=True, layer=34, datatype=0))  # metal1
d2s_pcell_top.add(gdstk.FlexPath([(5.545,4.745),(4.565,4.745)], 0.28, ends="flush", simple_path=True, layer=34, datatype=0))  # metal1
d2s_pcell_top.add(gdstk.FlexPath([(5.545,5.305),(6.505,5.305)], 0.28, ends="flush", simple_path=True, layer=34, datatype=0))  # metal1
d2s_pcell_top.add(gdstk.FlexPath([(5.545,4.745),(6.505,4.745)], 0.28, ends="flush", simple_path=True, layer=34, datatype=0))  # metal1
d2s_pcell_top.add(gdstk.FlexPath([(2.745,5.305),(2.125,5.305)], 0.28, ends="flush", simple_path=True, layer=34, datatype=0))  # metal1
d2s_pcell_top.add(gdstk.FlexPath([(2.745,4.745),(2.125,4.745)], 0.28, ends="flush", simple_path=True, layer=34, datatype=0))  # metal1
d2s_pcell_top.add(gdstk.FlexPath([(6.025,6),(6.025,5.445)], 0.28, ends="flush", simple_path=True, layer=34, datatype=0))  # metal1
d2s_pcell_top.add(gdstk.FlexPath([(9.305,5.305),(7.905,5.305),(7.905,4.745),(6.505,4.745)], 0.28, ends="flush", simple_path=True, layer=34, datatype=0))  # metal1
d2s_pcell_top.add(gdstk.FlexPath([(7.485,5.305),(6.505,5.305)], 0.28, ends="flush", simple_path=True, layer=34, datatype=0))  # metal1
d2s_pcell_top.add(gdstk.FlexPath([(9.305,4.745),(8.325,4.745)], 0.28, ends="flush", simple_path=True, layer=34, datatype=0))  # metal1
d2s_pcell_top.add(gdstk.FlexPath([(9.925,5.305),(9.305,5.305)], 0.28, ends="flush", simple_path=True, layer=34, datatype=0))  # metal1
d2s_pcell_top.add(gdstk.FlexPath([(9.925,4.745),(9.305,4.745)], 0.28, ends="flush", simple_path=True, layer=34, datatype=0))  # metal1
d2s_pcell_top.add(gdstk.FlexPath([(9.785,4.605),(9.785,4.05)], 0.28, ends="flush", simple_path=True, layer=34, datatype=0))  # metal1
d2s_pcell_top.add(gdstk.FlexPath([(6.025,4.605),(6.025,4.05)], 0.28, ends="flush", simple_path=True, layer=34, datatype=0))  # metal1
d2s_pcell_top.add(gdstk.FlexPath([(2.265,4.605),(2.265,4.05)], 0.28, ends="flush", simple_path=True, layer=34, datatype=0))  # metal1
d2s_pcell_top.add(gdstk.FlexPath([(6.025,4.605),(6.025,4.05)], 0.28, ends="flush", simple_path=True, layer=34, datatype=0))  # metal1
d2s_pcell_top.add(gdstk.FlexPath([(44.65,21.355),(44.65,9.385),(17.69,9.385),(17.69,21.165),(44.46,21.165)], 0.38, ends="flush", simple_path=True, layer=22, datatype=0))  # comp
d2s_pcell_top.add(gdstk.FlexPath([(43.48,11.235),(43.48,19.315)], 0.28, ends="flush", simple_path=True, layer=36, datatype=0))  # metal2
d2s_pcell_top.add(gdstk.FlexPath([(37.7,9.385),(38.68,9.385)], 0.28, ends="flush", simple_path=True, layer=36, datatype=0))  # metal2
d2s_pcell_top.add(gdstk.FlexPath([(44.04,11.235),(44.04,19.315)], 0.28, ends="flush", simple_path=True, layer=36, datatype=0))  # metal2
d2s_pcell_top.add(gdstk.FlexPath([(37.7,21.165),(38.68,21.165)], 0.28, ends="flush", simple_path=True, layer=36, datatype=0))  # metal2
d2s_pcell_top.add(gdstk.FlexPath([(33.02,9.385),(34,9.385)], 0.28, ends="flush", simple_path=True, layer=36, datatype=0))  # metal2
d2s_pcell_top.add(gdstk.FlexPath([(33.02,21.165),(34,21.165)], 0.28, ends="flush", simple_path=True, layer=36, datatype=0))  # metal2
d2s_pcell_top.add(gdstk.FlexPath([(28.34,9.385),(29.32,9.385)], 0.28, ends="flush", simple_path=True, layer=36, datatype=0))  # metal2
d2s_pcell_top.add(gdstk.FlexPath([(28.34,21.165),(29.32,21.165)], 0.28, ends="flush", simple_path=True, layer=36, datatype=0))  # metal2
d2s_pcell_top.add(gdstk.FlexPath([(23.66,9.385),(24.64,9.385)], 0.28, ends="flush", simple_path=True, layer=36, datatype=0))  # metal2
d2s_pcell_top.add(gdstk.FlexPath([(23.66,21.165),(24.64,21.165)], 0.28, ends="flush", simple_path=True, layer=36, datatype=0))  # metal2
d2s_pcell_top.add(gdstk.FlexPath([(12.36,11.235),(12.36,19.315)], 0.28, ends="flush", simple_path=True, layer=36, datatype=0))  # metal2
d2s_pcell_top.add(gdstk.FlexPath([(12.92,11.235),(12.92,19.315)], 0.28, ends="flush", simple_path=True, layer=36, datatype=0))  # metal2
d2s_pcell_top.add(gdstk.FlexPath([(11.905,6.73),(11.905,3.08)], 0.28, ends="flush", simple_path=True, layer=36, datatype=0))  # metal2
d2s_pcell_top.add(gdstk.FlexPath([(9.305,4.745),(7.905,4.745),(7.905,5.305),(6.505,5.305)], 0.28, ends="flush", simple_path=True, layer=36, datatype=0))  # metal2
d2s_pcell_top.add(gdstk.FlexPath([(5.545,4.745),(4.145,4.745),(4.145,5.305),(2.745,5.305)], 0.28, ends="flush", simple_path=True, layer=36, datatype=0))  # metal2
d2s_pcell_top.add(gdstk.FlexPath([(38.19,21.025),(38.19,9.525)], 0.28, ends="flush", simple_path=True, layer=42, datatype=0))  # metal3
d2s_pcell_top.add(gdstk.FlexPath([(37.7,9.385),(38.68,9.385)], 0.28, ends="flush", simple_path=True, layer=42, datatype=0))  # metal3
d2s_pcell_top.add(gdstk.FlexPath([(37.7,21.165),(38.68,21.165)], 0.28, ends="flush", simple_path=True, layer=42, datatype=0))  # metal3
d2s_pcell_top.add(gdstk.FlexPath([(33.51,21.025),(33.51,9.525)], 0.28, ends="flush", simple_path=True, layer=42, datatype=0))  # metal3
d2s_pcell_top.add(gdstk.FlexPath([(33.02,9.385),(34,9.385)], 0.28, ends="flush", simple_path=True, layer=42, datatype=0))  # metal3
d2s_pcell_top.add(gdstk.FlexPath([(33.02,21.165),(34,21.165)], 0.28, ends="flush", simple_path=True, layer=42, datatype=0))  # metal3
d2s_pcell_top.add(gdstk.FlexPath([(28.83,21.025),(28.83,9.525)], 0.28, ends="flush", simple_path=True, layer=42, datatype=0))  # metal3
d2s_pcell_top.add(gdstk.FlexPath([(28.34,9.385),(29.32,9.385)], 0.28, ends="flush", simple_path=True, layer=42, datatype=0))  # metal3
d2s_pcell_top.add(gdstk.FlexPath([(28.34,21.165),(29.32,21.165)], 0.28, ends="flush", simple_path=True, layer=42, datatype=0))  # metal3
d2s_pcell_top.add(gdstk.FlexPath([(24.15,21.025),(24.15,9.525)], 0.28, ends="flush", simple_path=True, layer=42, datatype=0))  # metal3
d2s_pcell_top.add(gdstk.FlexPath([(23.66,9.385),(24.64,9.385)], 0.28, ends="flush", simple_path=True, layer=42, datatype=0))  # metal3
d2s_pcell_top.add(gdstk.FlexPath([(23.66,21.165),(24.64,21.165)], 0.28, ends="flush", simple_path=True, layer=42, datatype=0))  # metal3
d2s_pcell_top.add(gdstk.FlexPath([(44.65,21.525),(44.65,9.385),(17.69,9.385),(17.69,21.165),(44.46,21.165)], 0.72, ends="flush", simple_path=True, layer=32, datatype=0))  # nplus
d2s_pcell_top.add(gdstk.Reference(d2s_pcell_4, (0.525,5.445)))
d2s_pcell_top.add(gdstk.Reference(d2s_pcell_4, (0.525,4.605), x_reflection=True))
d2s_pcell_top.add(gdstk.Reference(delay_stage_pcell_4_4_1, (30.94,9.855)))
d2s_pcell_top.add(gdstk.Reference(delay_stage_pcell_4_4_1, (31.4,9.855), rotation=pi, x_reflection=True))
d2s_pcell_top.add(gdstk.Reference(delay_stage_pcell_1_4_1, (43.1,9.855), rotation=pi, x_reflection=True))
d2s_pcell_top.add(gdstk.Reference(delay_stage_pcell_1_4_1, (22.04,9.855), rotation=pi, x_reflection=True))
d2s_pcell_top.add(gdstk.Label('AVDD', (17.69,21.165), layer=34, texttype=10))
d2s_pcell_top.add(gdstk.Label('VBP', (22.89,15.275), layer=34, texttype=10))
d2s_pcell_top.add(gdstk.Label('VOP', (43.48,18.225), layer=36, texttype=10))
d2s_pcell_top.add(gdstk.Label('VON', (44.04,18.265), layer=36, texttype=10))

lib.write_gds('d2s_pcell_top.gds')
